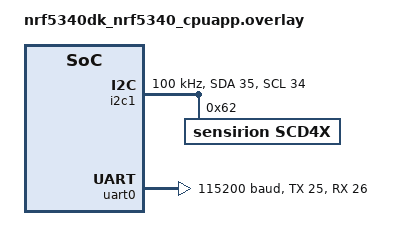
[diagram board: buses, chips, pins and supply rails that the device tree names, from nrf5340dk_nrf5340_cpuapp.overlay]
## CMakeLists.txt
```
# SPDX-License-Identifier: Apache-2.0

cmake_minimum_required(VERSION 3.20.0)

list(APPEND ZEPHYR_EXTRA_MODULES ${CMAKE_CURRENT_SOURCE_DIR}/scd4x_oot_driver)

find_package(Zephyr REQUIRED HINTS $ENV{ZEPHYR_BASE})
project(scd4x_broadcaster)

target_include_directories(app PRIVATE ${CMAKE_CURRENT_SOURCE_DIR}/scd4x_oot_driver/drivers/sensor/scd4x)

FILE(GLOB app_sources src/*.c)
FILE(GLOB scd4x_drv scd4x_oot_driver/drivers/sensor/scd4x/*.c)

target_sources(app PRIVATE ${scd4x_drv})
target_sources(app PRIVATE ${app_sources})
```

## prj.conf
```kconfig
#Generic sensor configuration
CONFIG_LOG=y
CONFIG_I2C=y
CONFIG_SENSOR=y
CONFIG_SENSOR_LOG_LEVEL_DBG=y

#SCD41 sensor configuration
CONFIG_SCD4X=y
CONFIG_SCD4X_POWER_DOWN_SINGLE_SHOT_MEASUREMENT=y
CONFIG_PM_DEVICE=y

#Console configuration
CONFIG_STDOUT_CONSOLE=y
CONFIG_CBPRINTF_FP_SUPPORT=y

#Bluetooth COnfiguration
CONFIG_BT=y
CONFIG_BT_BROADCASTER=y
```

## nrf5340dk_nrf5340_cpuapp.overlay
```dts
&i2c1 {
    compatible = "nordic,nrf-twim";
	status = "okay";
	sda-pin = < 35 >;  
	scl-pin = < 34 >;  
    clock-frequency = <I2C_BITRATE_STANDARD>;  

	scd4x@62 {
		status = "okay";
		compatible = "sensirion,scd4x";
		reg = <0x62>;
		label = "SCD4X";
        model = "scd41";
        altitude = <0>;
        measure-mode = "normal";
        temperature-offset = <4>;
		auto-calibration;
	};
};


&uart0 {
	status = "okay";
	current-speed = <115200>;
	tx-pin =  <25>; //<25> if XPLR-IOT used  //<20> if MINI-NORA-B1 is used
	rx-pin =  <26>; //<26> if XPLR-IOT used  //<22> if MINI-NORA-B1 is used
	rts-pin = <27>;
	cts-pin = <24>;
};
```

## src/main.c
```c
/*
 * Copyright 2022 u-blox Ltd
 *
 * Licensed under the Apache License, Version 2.0 (the "License");
 * you may not use this file except in compliance with the License.
 * You may obtain a copy of the License at
 *
    http://www.apache.org/licenses/LICENSE-2.0
 *
 * Unless required by applicable law or agreed to in writing, software
 * distributed under the License is distributed on an "AS IS" BASIS,
 * WITHOUT WARRANTIES OR CONDITIONS OF ANY KIND, either express or implied.
 * See the License for the specific language governing permissions and
 * limitations under the License.
 */

/** @file
 * @brief This file implements an SCD41 measurements broadcaster.
 *
 * Hardware Setup: Hardware that can be used for this implementation
 * is either an XPLR-IOT-1 device, with an SCD41 sensor attached to its
 * Qwiic connector, or a MINI-NORA-B1 Evaluation kit with an SCD41 clickboard
 * attached to it (or an SCD41 sensor attached to its Qwiic connector).
 *
 * The firmware sets up and then reads the sensor and broadcasts its
 * measurements via Bluetooth LE advertisement data.
 */


#include <zephyr.h>
#include <stdio.h>
#include <drivers/sensor.h>
#include <bluetooth/bluetooth.h>
#include <bluetooth/hci.h>

#include "scd4x.h"


/* ----------------------------------------------------------------
 * APPLICATION CONFIGURATION
 * -------------------------------------------------------------- */

/** How much time an single measurement will be advertised (msec).
 * Should be smaller than sensor MEASUREMENT_PERIOD
*/
#define ADVERTISING_MEAS_PERIOD   1000

/** The period between sensor measurements (msec)*/
#define MEASUREMENT_PERIOD        5000

// Device Name Configuration (How it advertises)
// The actual name that will appear is "ZephyrAQM"
#define DEVICE_NAME CONFIG_BT_DEVICE_NAME "AQM"

// sanity check
#if( ADVERTISING_MEAS_PERIOD >= MEASUREMENT_PERIOD)
#error "Advertising period should be smaller than measurement period"
#endif


/* ----------------------------------------------------------------
 * ZEPHYR RELATED DEFINITIONS/DECLARATIONS
 * -------------------------------------------------------------- */

#if !DT_HAS_COMPAT_STATUS_OKAY( sensirion_scd4x )
#error "No sensirion,scd4x compatible node found in the device tree"
#endif

#define DEVICE_NAME_LEN ( sizeof( DEVICE_NAME ) - 1 )

/* ----------------------------------------------------------------
 * GLOBALS
 * -------------------------------------------------------------- */

/** Structure holding the measurements of the SCD41 sensor along with
 * an ascending number which is used as a message id, to separate the
 * measurement messages
 */
struct {
    float temperature;      /**< Temperature measurement */
    float humidity;         /**< Humidity measurement */
    float co2;              /**< CO2 measurement */
    uint32_t message_id;    /**< Ascending number to identify measurement */
} gMeasurement = { 0 };

/** This byte array holds the bytes of the gMeasurement struct and
 * is used to pass the contents of the struct to the advertising data
 * of the device. (The gMeasurement struct is basicaly used to make clear
 * the arrangement of bytes in the gMfgData)
*/
static uint8_t gMfgData[ sizeof( gMeasurement ) ] = { 0 };

/** Set up the advertising data of the device*/
static struct bt_data ad[] = {
    BT_DATA( BT_DATA_MANUFACTURER_DATA, gMfgData, sizeof( gMfgData ) ),
};

/** Set Scan Response data */
static const struct bt_data sd[] = {
    BT_DATA( BT_DATA_NAME_COMPLETE, DEVICE_NAME, DEVICE_NAME_LEN ),
};


/* ----------------------------------------------------------------
 * FUNCTION
 * -------------------------------------------------------------- */

void main( void )
{
    // Holds return codes of functions
    int err;

    // Holds zephyr sensor measurements
    struct sensor_value temp, hum, co2;

    // Get sensor device
    const struct device *scd = DEVICE_DT_GET_ANY( sensirion_scd4x );


    printk("Air Quality Monitor - Sensor Broadcaster Version: 1.0 \r\n\r\n");

    // check if device has been initialized properly by zephyr
    if ( !device_is_ready( scd ) ) {
        printf( "Device %s is not ready", scd->name );
        return;
    }

    printf( "Starting Broadcaster \r\n" );

    /* Initialize the Bluetooth Subsystem */
    err = bt_enable( NULL );
    if (err) {
        printf( "Bluetooth init failed (err %d)\n", err );
        return;
    }
    printf( "Bluetooth initialized\r\n\r\n" );


    // Get sensor measurements at set intervals and broadcast the
    // data via Bluetooth advertisement data
    while ( true ) {

        // Get measurements
        if ( sensor_sample_fetch( scd ) ) {
            printf( "Failed to fetch sample from SCD4X device" );
            return;
        }

        sensor_channel_get( scd, SENSOR_CHAN_AMBIENT_TEMP, &temp );
        sensor_channel_get( scd, SENSOR_CHAN_HUMIDITY, &hum );
        sensor_channel_get( scd, SENSOR_CHAN_CO2, &co2 );

        // convert measurements
        double temperature = sensor_value_to_double( &temp );
        double humidity = sensor_value_to_double( &hum );
        double carbondioxide = sensor_value_to_double( &co2 );

#ifdef CONFIG_APP_USE_FAHRENHEIT
        temperature = ((9.0 / 5.0) * temperature) + 32;
#endif

        // pass measurements to structure
        gMeasurement.co2 = ( float )carbondioxide;
        gMeasurement.temperature = ( float )temperature;
        gMeasurement.humidity = ( float )humidity;
        gMeasurement.message_id = gMeasurement.message_id + 1;

        // print measurements
        printf( "\r\nSCD4x Temperature: %0.6f C, Humidity: %0.6f%%, CO2: %0.6f ppm,  Message ID: %d\r\n",
                ( float )temperature,
                ( float )humidity,
                ( float )carbondioxide,
                gMeasurement.message_id);

        // Copy measurement struct to gMfgData. This action passes the measurement
        // data to the advertising data of the device (see ad declaration).
        // (The gMeasurement struct is used to make clear the arrangement of bytes
        // in the message and make it easy to decompose this message on the receiver side -
        // since both sides use the same MCU -> NORA-B1 -> nRF5340)
        memcpy( gMfgData, &gMeasurement, sizeof( gMeasurement ) );

        // print hex contents of gMfgData, data that will be advetised
        printf( "Advertising Hex 0x  " );
        for ( uint8_t i = 0; i < sizeof( gMfgData ); i++ ) {
            printf( ":%02x", gMfgData[ i ] );
        }
        printf( "\r\n\r\n" );

        // Start advertising
        err = bt_le_adv_start( BT_LE_ADV_NCONN_IDENTITY, ad, ARRAY_SIZE( ad ),
                               sd, ARRAY_SIZE( sd ) );
        if ( err ) {
            printf("Advertising failed to start (err %d)\n", err);
            return;
        }

        // advertise for ADVERTISING_MEAS_PERIOD
        k_msleep( ADVERTISING_MEAS_PERIOD );

        // stop advertising
        err = bt_le_adv_stop();
        if ( err ) {
            printf( "Advertising failed to stop (err %d)\n", err );
            return;
        }

        // wait till next measurement
        k_sleep( K_MSEC( MEASUREMENT_PERIOD - ADVERTISING_MEAS_PERIOD ) );
    }

}
```
